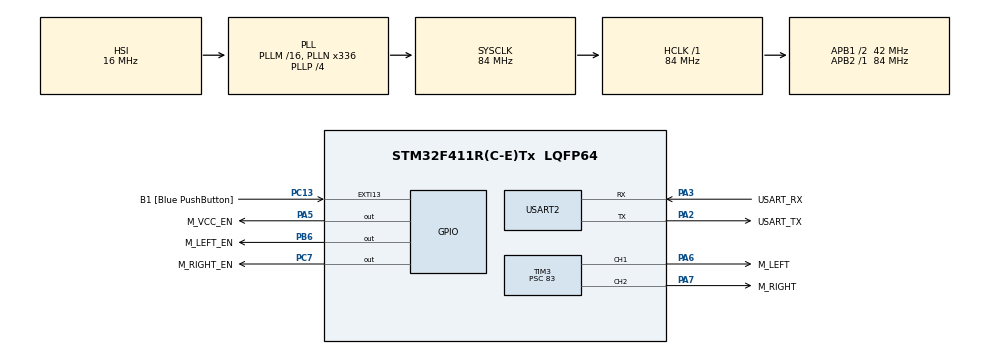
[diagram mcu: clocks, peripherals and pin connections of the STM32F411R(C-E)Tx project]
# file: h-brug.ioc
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Mcu.Family=STM32F4
Mcu.Name=STM32F411R(C-E)Tx
Mcu.Package=LQFP64
NVIC.PriorityGroup=NVIC_PRIORITYGROUP_0
PA13.GPIO_Label=TMS
PA13.Mode=Serial_Wire
PA13.Signal=SYS_JTMS-SWDIO
PA14.GPIO_Label=TCK
PA14.Mode=Serial_Wire
PA14.Signal=SYS_JTCK-SWCLK
PA2.GPIO_Label=USART_TX
PA2.Mode=Asynchronous
PA2.Signal=USART2_TX
PA3.GPIO_Label=USART_RX
PA3.Mode=Asynchronous
PA3.Signal=USART2_RX
PA5.GPIO_Label=M_VCC_EN
PA5.Signal=GPIO_Output
PA6.GPIO_Label=M_LEFT
PA6.Signal=S_TIM3_CH1
PA7.GPIO_Label=M_RIGHT
PA7.Signal=S_TIM3_CH2
PB3.GPIO_Label=SWO
PB3.Signal=SYS_JTDO-SWO
PB6.GPIO_Label=M_LEFT_EN
PB6.Signal=GPIO_Output
PC13-ANTI_TAMP.GPIO_Label=B1 [Blue PushButton]
PC13-ANTI_TAMP.GPIO_ModeDefaultEXTI=GPIO_MODE_IT_FALLING
PC13-ANTI_TAMP.Signal=GPXTI13
PC14-OSC32_IN.Mode=LSE-External-Oscillator
PC14-OSC32_IN.Signal=RCC_OSC32_IN
PC15-OSC32_OUT.Mode=LSE-External-Oscillator
PC15-OSC32_OUT.Signal=RCC_OSC32_OUT
PC7.GPIO_Label=M_RIGHT_EN
PC7.Signal=GPIO_Output
PH0\ -\ OSC_IN.Mode=HSE-External-Clock-Source
PH0\ -\ OSC_IN.Signal=RCC_OSC_IN
PH1\ -\ OSC_OUT.Mode=HSE-External-Clock-Source
PH1\ -\ OSC_OUT.Signal=RCC_OSC_OUT
ProjectManager.HeapSize=0x200
ProjectManager.StackSize=0x400
ProjectManager.TargetToolchain=STM32CubeIDE
RCC.48MHZClocksFreq_Value=84000000
RCC.AHBFreq_Value=84000000
RCC.APB1CLKDivider=RCC_HCLK_DIV2
RCC.APB1Freq_Value=42000000
RCC.APB1TimFreq_Value=84000000
RCC.APB2Freq_Value=84000000
RCC.APB2TimFreq_Value=84000000
RCC.CortexFreq_Value=84000000
RCC.FLatency-AdvancedSettings=FLASH_LATENCY_2
RCC.HCLKFreq_Value=84000000
RCC.HSE_VALUE=8000000
RCC.HSI_VALUE=16000000
RCC.PLLN=336
RCC.PLLP=RCC_PLLP_DIV4
RCC.SYSCLKFreq_VALUE=84000000
RCC.SYSCLKSource=RCC_SYSCLKSOURCE_PLLCLK
RCC.VCOOutputFreq_Value=336000000
SH.S_TIM3_CH1.0=TIM3_CH1,PWM Generation1 CH1
SH.S_TIM3_CH2.0=TIM3_CH2,PWM Generation2 CH2
TIM3.Channel-PWM\ Generation1\ CH1=TIM_CHANNEL_1
TIM3.Channel-PWM\ Generation2\ CH2=TIM_CHANNEL_2
TIM3.OCPolarity_1=TIM_OCPOLARITY_HIGH
TIM3.Period=100
TIM3.Prescaler=83
TIM4.Period=100
TIM4.Prescaler=83
USART2.VirtualMode=VM_ASYNC
VP_TIM3_VS_ClockSourceINT.Mode=Internal
VP_TIM4_VS_ClockSourceINT.Mode=Internal
board=NUCLEO-F411RE

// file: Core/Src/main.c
/* USER CODE BEGIN Header */
/**
  ******************************************************************************
  * @file           : main.c
  * @brief          : Main program body
  ******************************************************************************
  * @attention
  *
  * Copyright (c) 2023 STMicroelectronics.
  * All rights reserved.
  *
  * This software is licensed under terms that can be found in the LICENSE file
  * in the root directory of this software component.
  * If no LICENSE file comes with this software, it is provided AS-IS.
  *
  ******************************************************************************
  */
/* USER CODE END Header */
#include "main.h"

TIM_HandleTypeDef htim3;
TIM_HandleTypeDef htim4;

UART_HandleTypeDef huart2;

void SystemClock_Config(void);
static void MX_GPIO_Init(void);
static void MX_USART2_UART_Init(void);
static void MX_TIM4_Init(void);
static void MX_TIM3_Init(void);
/* USER CODE BEGIN PFP */

void pwmSweep(void);
void pwmConsole(void);
void doAction(void);
void doActionPwm(void);

/* USER CODE END PFP */

/* USER CODE BEGIN 0 */
char buffer[5] = "";
const char on[5] = "on";
const char off[5] = "off";
const char nextLine[2] = "\r\n";
uint32_t timeout = 50;

uint8_t index = 0;
char karakter = 0;

int16_t pwm;
/* USER CODE END 0 */

int main(void)
{

  /* MCU Configuration--------------------------------------------------------*/

  /* Reset of all peripherals, Initializes the Flash interface and the Systick. */
  HAL_Init();

  /* Configure the system clock */
  SystemClock_Config();

  /* Initialize all configured peripherals */
  MX_GPIO_Init();
  MX_USART2_UART_Init();
  MX_TIM4_Init();
  MX_TIM3_Init();

  /* Infinite loop */
  /* USER CODE BEGIN WHILE */
  const char text[50] = "on->EN_M, off->DIS_M, [-100, 100]->pwm";
  HAL_UART_Transmit(&huart2,text,sizeof(text),timeout);
  HAL_UART_Transmit(&huart2,nextLine,sizeof(nextLine),timeout);

  HAL_TIM_PWM_Start(&htim3, TIM_CHANNEL_1);
  HAL_TIM_PWM_Start(&htim3, TIM_CHANNEL_2);

  while (1)
  {
	  //pwmSweep();

	  //vraag data op van de gebruiker
	  //Dit ligt tussen de -100 en 100.
	  // -100 is volledig links en 100 is volledig rechts.
	  pwmConsole();

    /* USER CODE END WHILE */

  }
}

void SystemClock_Config(void)
{
  RCC_OscInitTypeDef RCC_OscInitStruct = {0};
  RCC_ClkInitTypeDef RCC_ClkInitStruct = {0};

  /** Configure the main internal regulator output voltage
  */
  __HAL_RCC_PWR_CLK_ENABLE();
  __HAL_PWR_VOLTAGESCALING_CONFIG(PWR_REGULATOR_VOLTAGE_SCALE1);

  /** Initializes the RCC Oscillators according to the specified parameters
  * in the RCC_OscInitTypeDef structure.
  */
  RCC_OscInitStruct.OscillatorType = RCC_OSCILLATORTYPE_HSI;
  RCC_OscInitStruct.HSIState = RCC_HSI_ON;
  RCC_OscInitStruct.HSICalibrationValue = RCC_HSICALIBRATION_DEFAULT;
  RCC_OscInitStruct.PLL.PLLState = RCC_PLL_ON;
  RCC_OscInitStruct.PLL.PLLSource = RCC_PLLSOURCE_HSI;
  RCC_OscInitStruct.PLL.PLLM = 16;
  RCC_OscInitStruct.PLL.PLLN = 336;
  RCC_OscInitStruct.PLL.PLLP = RCC_PLLP_DIV4;
  RCC_OscInitStruct.PLL.PLLQ = 4;
  if (HAL_RCC_OscConfig(&RCC_OscInitStruct) != HAL_OK)
  {
    Error_Handler();
  }

  /** Initializes the CPU, AHB and APB buses clocks
  */
  RCC_ClkInitStruct.ClockType = RCC_CLOCKTYPE_HCLK|RCC_CLOCKTYPE_SYSCLK
                              |RCC_CLOCKTYPE_PCLK1|RCC_CLOCKTYPE_PCLK2;
  RCC_ClkInitStruct.SYSCLKSource = RCC_SYSCLKSOURCE_PLLCLK;
  RCC_ClkInitStruct.AHBCLKDivider = RCC_SYSCLK_DIV1;
  RCC_ClkInitStruct.APB1CLKDivider = RCC_HCLK_DIV2;
  RCC_ClkInitStruct.APB2CLKDivider = RCC_HCLK_DIV1;

  if (HAL_RCC_ClockConfig(&RCC_ClkInitStruct, FLASH_LATENCY_2) != HAL_OK)
  {
    Error_Handler();
  }
}

static void MX_TIM3_Init(void)
{

  TIM_ClockConfigTypeDef sClockSourceConfig = {0};
  TIM_MasterConfigTypeDef sMasterConfig = {0};
  TIM_OC_InitTypeDef sConfigOC = {0};

  htim3.Instance = TIM3;
  htim3.Init.Prescaler = 83;
  htim3.Init.CounterMode = TIM_COUNTERMODE_UP;
  htim3.Init.Period = 100;
  htim3.Init.ClockDivision = TIM_CLOCKDIVISION_DIV1;
  htim3.Init.AutoReloadPreload = TIM_AUTORELOAD_PRELOAD_DISABLE;
  if (HAL_TIM_Base_Init(&htim3) != HAL_OK)
  {
    Error_Handler();
  }
  sClockSourceConfig.ClockSource = TIM_CLOCKSOURCE_INTERNAL;
  if (HAL_TIM_ConfigClockSource(&htim3, &sClockSourceConfig) != HAL_OK)
  {
    Error_Handler();
  }
  if (HAL_TIM_PWM_Init(&htim3) != HAL_OK)
  {
    Error_Handler();
  }
  sMasterConfig.MasterOutputTrigger = TIM_TRGO_RESET;
  sMasterConfig.MasterSlaveMode = TIM_MASTERSLAVEMODE_DISABLE;
  if (HAL_TIMEx_MasterConfigSynchronization(&htim3, &sMasterConfig) != HAL_OK)
  {
    Error_Handler();
  }
  sConfigOC.OCMode = TIM_OCMODE_PWM1;
  sConfigOC.Pulse = 0;
  sConfigOC.OCPolarity = TIM_OCPOLARITY_HIGH;
  sConfigOC.OCFastMode = TIM_OCFAST_DISABLE;
  if (HAL_TIM_PWM_ConfigChannel(&htim3, &sConfigOC, TIM_CHANNEL_1) != HAL_OK)
  {
    Error_Handler();
  }
  if (HAL_TIM_PWM_ConfigChannel(&htim3, &sConfigOC, TIM_CHANNEL_2) != HAL_OK)
  {
    Error_Handler();
  }
  HAL_TIM_MspPostInit(&htim3);

}

static void MX_TIM4_Init(void)
{

  TIM_ClockConfigTypeDef sClockSourceConfig = {0};
  TIM_MasterConfigTypeDef sMasterConfig = {0};

  htim4.Instance = TIM4;
  htim4.Init.Prescaler = 83;
  htim4.Init.CounterMode = TIM_COUNTERMODE_UP;
  htim4.Init.Period = 100;
  htim4.Init.ClockDivision = TIM_CLOCKDIVISION_DIV1;
  htim4.Init.AutoReloadPreload = TIM_AUTORELOAD_PRELOAD_DISABLE;
  if (HAL_TIM_Base_Init(&htim4) != HAL_OK)
  {
    Error_Handler();
  }
  sClockSourceConfig.ClockSource = TIM_CLOCKSOURCE_INTERNAL;
  if (HAL_TIM_ConfigClockSource(&htim4, &sClockSourceConfig) != HAL_OK)
  {
    Error_Handler();
  }
  sMasterConfig.MasterOutputTrigger = TIM_TRGO_RESET;
  sMasterConfig.MasterSlaveMode = TIM_MASTERSLAVEMODE_DISABLE;
  if (HAL_TIMEx_MasterConfigSynchronization(&htim4, &sMasterConfig) != HAL_OK)
  {
    Error_Handler();
  }

}

static void MX_USART2_UART_Init(void)
{

  huart2.Instance = USART2;
  huart2.Init.BaudRate = 115200;
  huart2.Init.WordLength = UART_WORDLENGTH_8B;
  huart2.Init.StopBits = UART_STOPBITS_1;
  huart2.Init.Parity = UART_PARITY_NONE;
  huart2.Init.Mode = UART_MODE_TX_RX;
  huart2.Init.HwFlowCtl = UART_HWCONTROL_NONE;
  huart2.Init.OverSampling = UART_OVERSAMPLING_16;
  if (HAL_UART_Init(&huart2) != HAL_OK)
  {
    Error_Handler();
  }

}

static void MX_GPIO_Init(void)
{
  GPIO_InitTypeDef GPIO_InitStruct = {0};

  /* GPIO Ports Clock Enable */
  __HAL_RCC_GPIOC_CLK_ENABLE();
  __HAL_RCC_GPIOH_CLK_ENABLE();
  __HAL_RCC_GPIOA_CLK_ENABLE();
  __HAL_RCC_GPIOB_CLK_ENABLE();

  /*Configure GPIO pin Output Level */
  HAL_GPIO_WritePin(M_VCC_EN_GPIO_Port, M_VCC_EN_Pin, GPIO_PIN_RESET);

  /*Configure GPIO pin Output Level */
  HAL_GPIO_WritePin(M_RIGHT_EN_GPIO_Port, M_RIGHT_EN_Pin, GPIO_PIN_RESET);

  /*Configure GPIO pin Output Level */
  HAL_GPIO_WritePin(M_LEFT_EN_GPIO_Port, M_LEFT_EN_Pin, GPIO_PIN_RESET);

  /*Configure GPIO pin : B1_Pin */
  GPIO_InitStruct.Pin = B1_Pin;
  GPIO_InitStruct.Mode = GPIO_MODE_IT_FALLING;
  GPIO_InitStruct.Pull = GPIO_NOPULL;
  HAL_GPIO_Init(B1_GPIO_Port, &GPIO_InitStruct);

  /*Configure GPIO pin : M_VCC_EN_Pin */
  GPIO_InitStruct.Pin = M_VCC_EN_Pin;
  GPIO_InitStruct.Mode = GPIO_MODE_OUTPUT_PP;
  GPIO_InitStruct.Pull = GPIO_NOPULL;
  GPIO_InitStruct.Speed = GPIO_SPEED_FREQ_LOW;
  HAL_GPIO_Init(M_VCC_EN_GPIO_Port, &GPIO_InitStruct);

  /*Configure GPIO pin : M_RIGHT_EN_Pin */
  GPIO_InitStruct.Pin = M_RIGHT_EN_Pin;
  GPIO_InitStruct.Mode = GPIO_MODE_OUTPUT_PP;
  GPIO_InitStruct.Pull = GPIO_NOPULL;
  GPIO_InitStruct.Speed = GPIO_SPEED_FREQ_LOW;
  HAL_GPIO_Init(M_RIGHT_EN_GPIO_Port, &GPIO_InitStruct);

  /*Configure GPIO pin : M_LEFT_EN_Pin */
  GPIO_InitStruct.Pin = M_LEFT_EN_Pin;
  GPIO_InitStruct.Mode = GPIO_MODE_OUTPUT_PP;
  GPIO_InitStruct.Pull = GPIO_NOPULL;
  GPIO_InitStruct.Speed = GPIO_SPEED_FREQ_LOW;
  HAL_GPIO_Init(M_LEFT_EN_GPIO_Port, &GPIO_InitStruct);

}

/* USER CODE BEGIN 4 */
void pwmSweep(void){
	  uint8_t pwm = 0;
	  uint8_t isUp = 1;
	  uint8_t isLeft = 1;

	  //Zet de voeding aan.
	  HAL_GPIO_WritePin(M_VCC_EN_GPIO_Port, M_VCC_EN_Pin, GPIO_PIN_SET);

	  //Zet de timers aan.
	  //HAL_TIM_PWM_Start(&htim4, TIM_CHANNEL_1);
	  HAL_TIM_PWM_Start(&htim3, TIM_CHANNEL_1);
	  HAL_TIM_PWM_Start(&htim3, TIM_CHANNEL_2);

	  while (1)
	  {
		  if(isUp){
			  pwm += 2;
		  }
		  else{
			  pwm -=2;
		  }

		  //Als 1 cyclus up->down geweest is.
		  if(pwm == 0 && isUp == 0){
			  if(isLeft){
				  isLeft = 0;
			  }
			  else{
				  isLeft = 1;
			  }
		  }

		  if(pwm >= 100){
			  pwm = 100;
			  isUp = 0;
		  }
		  else if(pwm <= 0){
			  pwm = 0;
			  isUp = 1;
		  }

		  if(isLeft){
			  HAL_GPIO_WritePin(M_RIGHT_EN_GPIO_Port,M_RIGHT_Pin, 0);
			  HAL_GPIO_WritePin(M_LEFT_EN_GPIO_Port,M_LEFT_Pin, 1);
			  TIM3->CCR2 = 0;
			  TIM3->CCR1 = pwm;
		  }
		  else{
			  HAL_GPIO_WritePin(M_RIGHT_EN_GPIO_Port,M_RIGHT_Pin, 1);
			  HAL_GPIO_WritePin(M_LEFT_EN_GPIO_Port,M_LEFT_Pin, 0);
			  TIM3->CCR1 = 0;
			  TIM3->CCR2 = pwm;
		  }

		  HAL_Delay(100);
	  }
}

void pwmConsole(){
	if(karakter != 13){//Zolang er geen enter is geweest, blijven kijken.
		HAL_UART_Receive(&huart2,&karakter,4,timeout);
		if(karakter != 0 && karakter != 13 && index < sizeof(buffer)){ //Als er een input is geweest en het is geen enter en de index is klener dan de buffer, verhoog de counter.
			buffer[index] = karakter;
		  	index++;
		  	karakter = 0;
		}
	}
	else if (karakter == 13){ // Er is een enter geweest
		HAL_UART_Transmit(&huart2,buffer,sizeof(buffer),timeout);
		HAL_UART_Transmit(&huart2,nextLine,sizeof(nextLine),timeout);

		if(strcmp(buffer, on) == 0){
			HAL_GPIO_WritePin(M_VCC_EN_GPIO_Port, M_VCC_EN_Pin, GPIO_PIN_SET);
		}
		else if(strcmp(buffer, off) == 0)
		{
			HAL_GPIO_WritePin(M_VCC_EN_GPIO_Port, M_VCC_EN_Pin, GPIO_PIN_RESET);
		}
		else
		{
		//het is een PWM waarde
			sscanf(buffer, "%d", &pwm);
			doActionPwm();
		}

		// Maak buffer leeg.
		for(uint8_t i = 0; i < sizeof(buffer); i++){
			buffer[i] = 0;
		}
		index = 0;
		karakter = 0;
		}

	HAL_Delay(10);
}

void doActionPwm(void){
	if(pwm < 0 && pwm >= -100){
		//ga naar links
		HAL_GPIO_WritePin(M_RIGHT_EN_GPIO_Port,M_RIGHT_Pin, 0);
		HAL_GPIO_WritePin(M_LEFT_EN_GPIO_Port,M_LEFT_Pin, 1);
		TIM3->CCR2 = 0;
		TIM3->CCR1 = (pwm*(-1));  //positief maken
	}
	if(pwm > 0 && pwm <=100){
		//ga naar rechts
		HAL_GPIO_WritePin(M_RIGHT_EN_GPIO_Port,M_RIGHT_Pin, 1);
		HAL_GPIO_WritePin(M_LEFT_EN_GPIO_Port,M_LEFT_Pin, 0);
		TIM3->CCR2 = pwm;
		TIM3->CCR1 = 0;
	}
	if(pwm == 0){
		//stop
		HAL_GPIO_WritePin(M_RIGHT_EN_GPIO_Port,M_RIGHT_Pin, 0);
		HAL_GPIO_WritePin(M_LEFT_EN_GPIO_Port,M_LEFT_Pin, 0);
		TIM3->CCR2 = 0;
		TIM3->CCR1 = 0;
	}
}

void doAction(void){
	if(pwm < 0 && pwm >= -100){
		//ga naar links
		HAL_GPIO_WritePin(M_RIGHT_GPIO_Port,M_RIGHT_Pin, 0);
		HAL_GPIO_WritePin(M_LEFT_GPIO_Port,M_LEFT_Pin, 1);
		//TIM3->CCR2 = 0;
		//TIM3->CCR1 = pwm*(-1);  //positief maken
	}
	if(pwm > 0 && pwm <=100){
		//ga naar rechts
		HAL_GPIO_WritePin(M_RIGHT_GPIO_Port,M_RIGHT_Pin, 1);
		HAL_GPIO_WritePin(M_LEFT_GPIO_Port,M_LEFT_Pin, 0);
		//TIM3->CCR2 = pwm;
		//TIM3->CCR1 = 0;
	}
	if(pwm == 0){
		//stop
		HAL_GPIO_WritePin(M_RIGHT_GPIO_Port,M_RIGHT_Pin, 0);
		HAL_GPIO_WritePin(M_LEFT_GPIO_Port,M_LEFT_Pin, 0);
		//TIM3->CCR2 = 0;
		//TIM3->CCR1 = 0;
	}
}
/* USER CODE END 4 */

void Error_Handler(void)
{
  __disable_irq();
  while (1)
  {
  }
}
